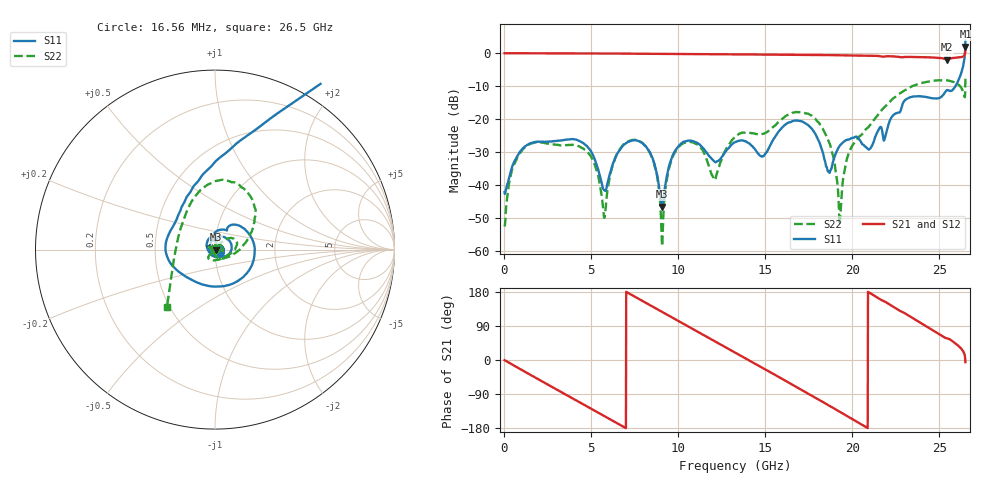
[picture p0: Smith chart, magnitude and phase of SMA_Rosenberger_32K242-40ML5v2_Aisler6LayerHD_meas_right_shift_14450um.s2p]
# HZ S RI R 50
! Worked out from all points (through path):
!   1600 points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, 16.56 MHz to 26.5 GHz, reference 50 ohm
!   highest |S21| = 1.97 dB at 26.5 GHz (marker M1); lowest = -1.9 dB at 25.44 GHz (marker M2)
!   group delay of S21, straight-line fit = 72.2 ps
!   lowest |S11| = -46.5 dB at 9.06 GHz (marker M3), VSWR 1.01, Z = 50.5 - j0.0495 ohm
!   |S11| at or under -10 dB: start of sweep to 25.93 GHz
!   |S22| runs from -58.5 to -7.6 dB; largest |S21 - S12| = 1e-13
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1.65625e7  0.00777 0.000812  0.9998 -0.00837  0.9998 -0.00837  -0.00228 0.000599
4.30625e8  0.0121 0.0138  0.9802 -0.198  0.9802 -0.198  -0.00102 0.0164
1.159375e9  0.0319 0.0208  0.8619 -0.5054  0.8619 -0.5054  0.00516 0.0365
4.43875e9  0.0372 -0.025  -0.4107 -0.9027  -0.4107 -0.9027  0.0366 -0.00458
5.730625e9  0.00792 -0.00279  -0.8359 -0.5333  -0.8359 -0.5333  0.00159 0.00281
7.155e9  0.0453 0.00429  -0.9836 0.0696  -0.9836 0.0696  -0.0426 0.0185
8.248125e9  0.0253 -0.0242  -0.8328 0.5176  -0.8328 0.5176  -0.0335 0.00986
8.844375e9  0.00609 -0.00974  -0.6666 0.7164  -0.6666 0.7164  -0.0104 0.0012
9.059688e9  0.0047 -0.00049  -0.5944 0.7764  -0.5944 0.7764  -0.000752 -0.00105
1.002031e10  0.0339 0.0196  -0.2174 0.9488  -0.2174 0.9488  0.037 -0.00667
1.20575e10  0.0222 -0.00603  0.6099 0.7488  0.6099 0.7488  0.0047 -0.0112
1.326656e10  0.0442 -0.00739  0.9032 0.3253  0.9032 0.3253  -0.0368 -0.0396
1.520438e10  -0.0291 0.0219  0.8259 -0.4767  0.8259 -0.4767  0.0495 -0.0453
1.767219e10  0.0625 -0.0355  -0.0648 -0.9377  -0.0648 -0.9377  0.0925 0.0649
1.863281e10  0.0153 -0.00543  -0.4611 -0.8164  -0.4611 -0.8164  0.0307 0.0355
1.929531e10  0.039 0.00913  -0.681 -0.6336  -0.681 -0.6336  0.00227 -0.00177
1.990812e10  0.0494 -0.0118  -0.8272 -0.4156  -0.8272 -0.4156  0.00322 -0.0356
2.209438e10  -0.0077 0.0853  -0.7621 0.48  -0.7621 0.48  0.1723 0.0414
2.376719e10  0.2136 -0.0635  -0.1893 0.8546  -0.1893 0.8546  0.2126 0.2629
2.544e10  -0.2758 -0.00192  0.4348 0.6743  0.4348 0.6743  0.0295 0.3867
2.621844e10  -0.0203 0.464  0.7378 0.4625  0.7378 0.4625  -0.1181 0.2861
2.65e10  0.9903 1.209  1.248 -0.1244  1.248 -0.1244  -0.268 -0.3201
